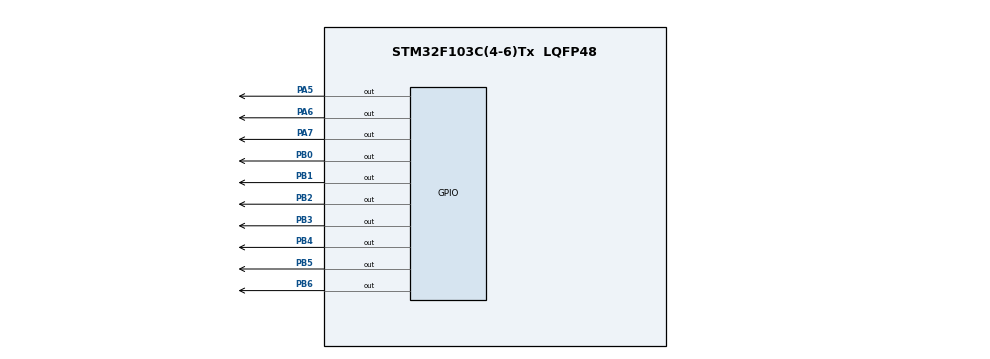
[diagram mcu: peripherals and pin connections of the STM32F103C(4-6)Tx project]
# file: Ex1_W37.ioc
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Mcu.Family=STM32F1
PD1-OSC_OUT.Mode=HSE-External-Oscillator
PD0-OSC_IN.Signal=RCC_OSC_IN
VP_SYS_VS_ND.Mode=No_Debug
ProjectManager.StackSize=0x400
PD1-OSC_OUT.Signal=RCC_OSC_OUT
ProjectManager.TargetToolchain=STM32CubeIDE
PB6.Signal=GPIO_Output
PD0-OSC_IN.Mode=HSE-External-Oscillator
PA5.Signal=GPIO_Output
PB2.Signal=GPIO_Output
board=custom
RCC.APB2Freq_Value=8000000
VP_TIM2_VS_ClockSourceINT.Mode=Internal
NVIC.TIM2_IRQn=true\:0\:0\:false\:false\:true\:true\:true
TIM2.Period=9
Mcu.Name=STM32F103C(4-6)Tx
PB3.Signal=GPIO_Output
Mcu.Package=LQFP48
PB5.Signal=GPIO_Output
TIM2.Prescaler=7999
PA6.Signal=GPIO_Output
PB1.Signal=GPIO_Output
ProjectManager.HeapSize=0x200
NVIC.PriorityGroup=NVIC_PRIORITYGROUP_4
RCC.APB1Freq_Value=8000000
PB0.Signal=GPIO_Output
PB4.Signal=GPIO_Output
PA7.Signal=GPIO_Output

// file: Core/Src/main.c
/* USER CODE BEGIN Header */
/**
  ******************************************************************************
  * @file           : main.c
  * @brief          : Main program body
  ******************************************************************************
  * @attention
  *
  * <h2><center>&copy; Copyright (c) 2021 STMicroelectronics.
  * All rights reserved.</center></h2>
  *
  * This software component is licensed by ST under BSD 3-Clause license,
  * the "License"; You may not use this file except in compliance with the
  * License. You may obtain a copy of the License at:
  *                        opensource.org/licenses/BSD-3-Clause
  *
  ******************************************************************************
  */
/* USER CODE END Header */
#include "main.h"

/* USER CODE BEGIN PTD */
void display7SEG(int num) //display 7SEG-LED
{
	/*HAL_GPIO_WritePin(GPIOB, GPIO_PIN_0, GPIO_PIN_SET);
	HAL_GPIO_WritePin(GPIOB, GPIO_PIN_1, GPIO_PIN_SET);
	HAL_GPIO_WritePin(GPIOB, GPIO_PIN_2, GPIO_PIN_SET);
	HAL_GPIO_WritePin(GPIOB, GPIO_PIN_3, GPIO_PIN_SET);
	HAL_GPIO_WritePin(GPIOB, GPIO_PIN_4, GPIO_PIN_SET);
	HAL_GPIO_WritePin(GPIOB, GPIO_PIN_5, GPIO_PIN_SET);
	HAL_GPIO_WritePin(GPIOB, GPIO_PIN_6, GPIO_PIN_SET);*/
	switch (num) {
		case 0:
			HAL_GPIO_WritePin(GPIOB, GPIO_PIN_0, GPIO_PIN_RESET);
			HAL_GPIO_WritePin(GPIOB, GPIO_PIN_1, GPIO_PIN_RESET);
			HAL_GPIO_WritePin(GPIOB, GPIO_PIN_2, GPIO_PIN_RESET);
			HAL_GPIO_WritePin(GPIOB, GPIO_PIN_3, GPIO_PIN_RESET);
			HAL_GPIO_WritePin(GPIOB, GPIO_PIN_4, GPIO_PIN_RESET);
			HAL_GPIO_WritePin(GPIOB, GPIO_PIN_5, GPIO_PIN_RESET);
			HAL_GPIO_WritePin(GPIOB, GPIO_PIN_6, GPIO_PIN_SET);
			break;
		case 1:
			HAL_GPIO_WritePin(GPIOB, GPIO_PIN_0, GPIO_PIN_SET);
				HAL_GPIO_WritePin(GPIOB, GPIO_PIN_1, GPIO_PIN_RESET);
				HAL_GPIO_WritePin(GPIOB, GPIO_PIN_2, GPIO_PIN_RESET);
				HAL_GPIO_WritePin(GPIOB, GPIO_PIN_3, GPIO_PIN_SET);
				HAL_GPIO_WritePin(GPIOB, GPIO_PIN_4, GPIO_PIN_SET);
				HAL_GPIO_WritePin(GPIOB, GPIO_PIN_5, GPIO_PIN_SET);
				HAL_GPIO_WritePin(GPIOB, GPIO_PIN_6, GPIO_PIN_SET);
			break;
		case 2:
			HAL_GPIO_WritePin(GPIOB, GPIO_PIN_0, GPIO_PIN_RESET);
				HAL_GPIO_WritePin(GPIOB, GPIO_PIN_1, GPIO_PIN_RESET);
				HAL_GPIO_WritePin(GPIOB, GPIO_PIN_2, GPIO_PIN_SET);
				HAL_GPIO_WritePin(GPIOB, GPIO_PIN_3, GPIO_PIN_RESET);
				HAL_GPIO_WritePin(GPIOB, GPIO_PIN_4, GPIO_PIN_RESET);
				HAL_GPIO_WritePin(GPIOB, GPIO_PIN_5, GPIO_PIN_SET);
				HAL_GPIO_WritePin(GPIOB, GPIO_PIN_6, GPIO_PIN_RESET);
			break;
		case 3:
			HAL_GPIO_WritePin(GPIOB, GPIO_PIN_0, GPIO_PIN_RESET);
				HAL_GPIO_WritePin(GPIOB, GPIO_PIN_1, GPIO_PIN_RESET);
				HAL_GPIO_WritePin(GPIOB, GPIO_PIN_2, GPIO_PIN_RESET);
				HAL_GPIO_WritePin(GPIOB, GPIO_PIN_3, GPIO_PIN_RESET);
				HAL_GPIO_WritePin(GPIOB, GPIO_PIN_4, GPIO_PIN_SET);
				HAL_GPIO_WritePin(GPIOB, GPIO_PIN_5, GPIO_PIN_SET);
				HAL_GPIO_WritePin(GPIOB, GPIO_PIN_6, GPIO_PIN_RESET);
			break;
		case 4:
			HAL_GPIO_WritePin(GPIOB, GPIO_PIN_0, GPIO_PIN_SET);
				HAL_GPIO_WritePin(GPIOB, GPIO_PIN_1, GPIO_PIN_RESET);
				HAL_GPIO_WritePin(GPIOB, GPIO_PIN_2, GPIO_PIN_RESET);
				HAL_GPIO_WritePin(GPIOB, GPIO_PIN_3, GPIO_PIN_SET);
				HAL_GPIO_WritePin(GPIOB, GPIO_PIN_4, GPIO_PIN_SET);
				HAL_GPIO_WritePin(GPIOB, GPIO_PIN_5, GPIO_PIN_RESET);
				HAL_GPIO_WritePin(GPIOB, GPIO_PIN_6, GPIO_PIN_RESET);
			break;
		case 5:
			HAL_GPIO_WritePin(GPIOB, GPIO_PIN_0, GPIO_PIN_RESET);
				HAL_GPIO_WritePin(GPIOB, GPIO_PIN_1, GPIO_PIN_SET);
				HAL_GPIO_WritePin(GPIOB, GPIO_PIN_2, GPIO_PIN_RESET);
				HAL_GPIO_WritePin(GPIOB, GPIO_PIN_3, GPIO_PIN_RESET);
				HAL_GPIO_WritePin(GPIOB, GPIO_PIN_4, GPIO_PIN_SET);
				HAL_GPIO_WritePin(GPIOB, GPIO_PIN_5, GPIO_PIN_RESET);
				HAL_GPIO_WritePin(GPIOB, GPIO_PIN_6, GPIO_PIN_RESET);
			break;
		case 6:
			HAL_GPIO_WritePin(GPIOB, GPIO_PIN_0, GPIO_PIN_RESET);
				HAL_GPIO_WritePin(GPIOB, GPIO_PIN_1, GPIO_PIN_SET);
				HAL_GPIO_WritePin(GPIOB, GPIO_PIN_2, GPIO_PIN_RESET);
				HAL_GPIO_WritePin(GPIOB, GPIO_PIN_3, GPIO_PIN_RESET);
				HAL_GPIO_WritePin(GPIOB, GPIO_PIN_4, GPIO_PIN_RESET);
				HAL_GPIO_WritePin(GPIOB, GPIO_PIN_5, GPIO_PIN_RESET);
				HAL_GPIO_WritePin(GPIOB, GPIO_PIN_6, GPIO_PIN_RESET);
			break;
		case 7:
			HAL_GPIO_WritePin(GPIOB, GPIO_PIN_0, GPIO_PIN_RESET);
				HAL_GPIO_WritePin(GPIOB, GPIO_PIN_1, GPIO_PIN_RESET);
				HAL_GPIO_WritePin(GPIOB, GPIO_PIN_2, GPIO_PIN_RESET);
				HAL_GPIO_WritePin(GPIOB, GPIO_PIN_3, GPIO_PIN_SET);
				HAL_GPIO_WritePin(GPIOB, GPIO_PIN_4, GPIO_PIN_SET);
				HAL_GPIO_WritePin(GPIOB, GPIO_PIN_5, GPIO_PIN_SET);
				HAL_GPIO_WritePin(GPIOB, GPIO_PIN_6, GPIO_PIN_SET);
			break;
		case 8:
			HAL_GPIO_WritePin(GPIOB, GPIO_PIN_0, GPIO_PIN_RESET);
			HAL_GPIO_WritePin(GPIOB, GPIO_PIN_1, GPIO_PIN_RESET);
			HAL_GPIO_WritePin(GPIOB, GPIO_PIN_2, GPIO_PIN_RESET);
			HAL_GPIO_WritePin(GPIOB, GPIO_PIN_3, GPIO_PIN_RESET);
			HAL_GPIO_WritePin(GPIOB, GPIO_PIN_4, GPIO_PIN_RESET);
			HAL_GPIO_WritePin(GPIOB, GPIO_PIN_5, GPIO_PIN_RESET);
			HAL_GPIO_WritePin(GPIOB, GPIO_PIN_6, GPIO_PIN_RESET);

			break;
		case 9:
			HAL_GPIO_WritePin(GPIOB, GPIO_PIN_0, GPIO_PIN_RESET);
			HAL_GPIO_WritePin(GPIOB, GPIO_PIN_1, GPIO_PIN_RESET);
			HAL_GPIO_WritePin(GPIOB, GPIO_PIN_2, GPIO_PIN_RESET);
			HAL_GPIO_WritePin(GPIOB, GPIO_PIN_3, GPIO_PIN_RESET);
			HAL_GPIO_WritePin(GPIOB, GPIO_PIN_4, GPIO_PIN_SET);
			HAL_GPIO_WritePin(GPIOB, GPIO_PIN_5, GPIO_PIN_RESET);
			HAL_GPIO_WritePin(GPIOB, GPIO_PIN_6, GPIO_PIN_RESET);
			break;
		default:
			HAL_GPIO_WritePin(GPIOB, GPIO_PIN_3, GPIO_PIN_SET);
			break;
		}
}

/* USER CODE END PTD */

TIM_HandleTypeDef htim2;

void SystemClock_Config(void);
static void MX_GPIO_Init(void);
static void MX_TIM2_Init(void);

int main(void)
{

  /* MCU Configuration--------------------------------------------------------*/

  /* Reset of all peripherals, Initializes the Flash interface and the Systick. */
  HAL_Init();

  /* Configure the system clock */
  SystemClock_Config();

  /* Initialize all configured peripherals */
  MX_GPIO_Init();
  MX_TIM2_Init();
  /* USER CODE BEGIN 2 */
  HAL_TIM_Base_Start_IT(&htim2);
  /* USER CODE END 2 */

  /* Infinite loop */
  while (1)
  {

  }
}

void SystemClock_Config(void)
{
  RCC_OscInitTypeDef RCC_OscInitStruct = {0};
  RCC_ClkInitTypeDef RCC_ClkInitStruct = {0};

  /** Initializes the RCC Oscillators according to the specified parameters
  * in the RCC_OscInitTypeDef structure.
  */
  RCC_OscInitStruct.OscillatorType = RCC_OSCILLATORTYPE_HSI;
  RCC_OscInitStruct.HSIState = RCC_HSI_ON;
  RCC_OscInitStruct.HSICalibrationValue = RCC_HSICALIBRATION_DEFAULT;
  RCC_OscInitStruct.PLL.PLLState = RCC_PLL_NONE;
  if (HAL_RCC_OscConfig(&RCC_OscInitStruct) != HAL_OK)
  {
    Error_Handler();
  }
  /** Initializes the CPU, AHB and APB buses clocks
  */
  RCC_ClkInitStruct.ClockType = RCC_CLOCKTYPE_HCLK|RCC_CLOCKTYPE_SYSCLK
                              |RCC_CLOCKTYPE_PCLK1|RCC_CLOCKTYPE_PCLK2;
  RCC_ClkInitStruct.SYSCLKSource = RCC_SYSCLKSOURCE_HSI;
  RCC_ClkInitStruct.AHBCLKDivider = RCC_SYSCLK_DIV1;
  RCC_ClkInitStruct.APB1CLKDivider = RCC_HCLK_DIV1;
  RCC_ClkInitStruct.APB2CLKDivider = RCC_HCLK_DIV1;

  if (HAL_RCC_ClockConfig(&RCC_ClkInitStruct, FLASH_LATENCY_0) != HAL_OK)
  {
    Error_Handler();
  }
}

static void MX_TIM2_Init(void)
{

  TIM_ClockConfigTypeDef sClockSourceConfig = {0};
  TIM_MasterConfigTypeDef sMasterConfig = {0};

  htim2.Instance = TIM2;
  htim2.Init.Prescaler = 7999;
  htim2.Init.CounterMode = TIM_COUNTERMODE_UP;
  htim2.Init.Period = 9;
  htim2.Init.ClockDivision = TIM_CLOCKDIVISION_DIV1;
  htim2.Init.AutoReloadPreload = TIM_AUTORELOAD_PRELOAD_DISABLE;
  if (HAL_TIM_Base_Init(&htim2) != HAL_OK)
  {
    Error_Handler();
  }
  sClockSourceConfig.ClockSource = TIM_CLOCKSOURCE_INTERNAL;
  if (HAL_TIM_ConfigClockSource(&htim2, &sClockSourceConfig) != HAL_OK)
  {
    Error_Handler();
  }
  sMasterConfig.MasterOutputTrigger = TIM_TRGO_RESET;
  sMasterConfig.MasterSlaveMode = TIM_MASTERSLAVEMODE_DISABLE;
  if (HAL_TIMEx_MasterConfigSynchronization(&htim2, &sMasterConfig) != HAL_OK)
  {
    Error_Handler();
  }

}

static void MX_GPIO_Init(void)
{
  GPIO_InitTypeDef GPIO_InitStruct = {0};

  /* GPIO Ports Clock Enable */
  __HAL_RCC_GPIOD_CLK_ENABLE();
  __HAL_RCC_GPIOA_CLK_ENABLE();
  __HAL_RCC_GPIOB_CLK_ENABLE();

  /*Configure GPIO pin Output Level */
  HAL_GPIO_WritePin(GPIOA, GPIO_PIN_5|GPIO_PIN_6|GPIO_PIN_7, GPIO_PIN_RESET);

  /*Configure GPIO pin Output Level */
  HAL_GPIO_WritePin(GPIOB, GPIO_PIN_0|GPIO_PIN_1|GPIO_PIN_2|GPIO_PIN_3
                          |GPIO_PIN_4|GPIO_PIN_5|GPIO_PIN_6, GPIO_PIN_RESET);

  /*Configure GPIO pins : PA5 PA6 PA7 */
  GPIO_InitStruct.Pin = GPIO_PIN_5|GPIO_PIN_6|GPIO_PIN_7;
  GPIO_InitStruct.Mode = GPIO_MODE_OUTPUT_PP;
  GPIO_InitStruct.Pull = GPIO_NOPULL;
  GPIO_InitStruct.Speed = GPIO_SPEED_FREQ_LOW;
  HAL_GPIO_Init(GPIOA, &GPIO_InitStruct);

  /*Configure GPIO pins : PB0 PB1 PB2 PB3
                           PB4 PB5 PB6 */
  GPIO_InitStruct.Pin = GPIO_PIN_0|GPIO_PIN_1|GPIO_PIN_2|GPIO_PIN_3
                          |GPIO_PIN_4|GPIO_PIN_5|GPIO_PIN_6;
  GPIO_InitStruct.Mode = GPIO_MODE_OUTPUT_PP;
  GPIO_InitStruct.Pull = GPIO_NOPULL;
  GPIO_InitStruct.Speed = GPIO_SPEED_FREQ_LOW;
  HAL_GPIO_Init(GPIOB, &GPIO_InitStruct);

}

/* USER CODE BEGIN 4 */
int counter = 100;
void HAL_TIM_PeriodElapsedCallback ( TIM_HandleTypeDef * htim )
{
	//do chu ki la 10ms nen ham nay xu li gi sau 10ms
	counter --;
	if( counter <= 0) {
			counter = 100;
			HAL_GPIO_TogglePin ( GPIOA, GPIO_PIN_5 ) ;
		}
	if(counter>50)
	{
		HAL_GPIO_WritePin(GPIOA, GPIO_PIN_6, 0);
		HAL_GPIO_WritePin(GPIOA, GPIO_PIN_7, 1);
		display7SEG(1);
	}
	else
	{
		HAL_GPIO_WritePin(GPIOA, GPIO_PIN_6, 1);
		HAL_GPIO_WritePin(GPIOA, GPIO_PIN_7, 0);
		display7SEG(2);
	}
}
/* USER CODE END 4 */

void Error_Handler(void)
{
  __disable_irq();
  while (1)
  {
  }
}

/************************ (C) COPYRIGHT STMicroelectronics *****END OF FILE****/
